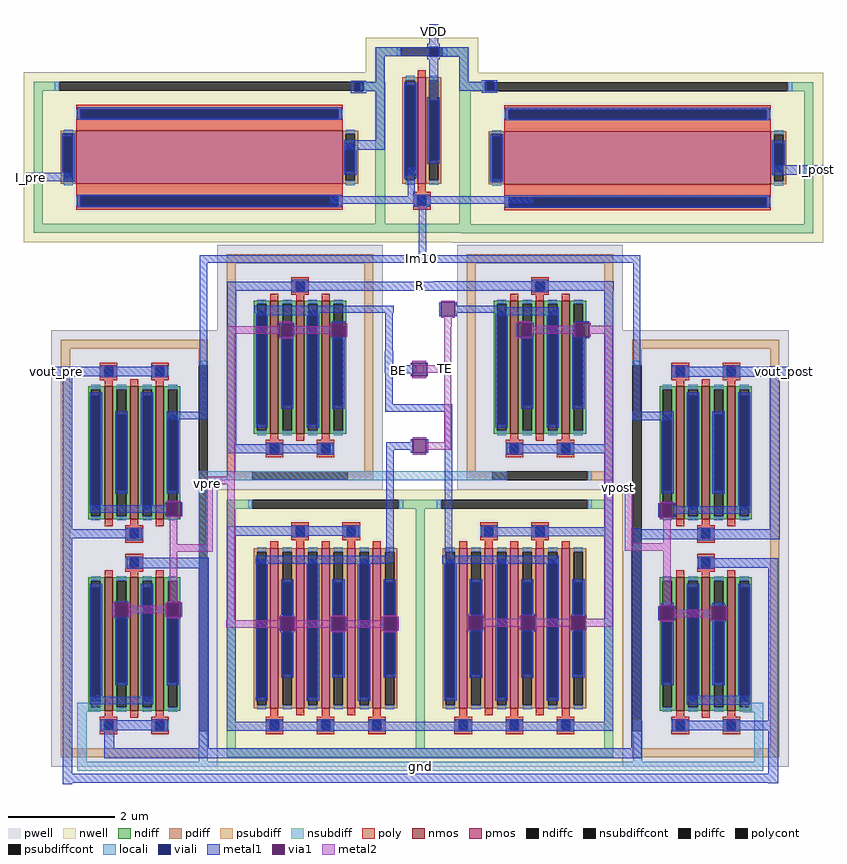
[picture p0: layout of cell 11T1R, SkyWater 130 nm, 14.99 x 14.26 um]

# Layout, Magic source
magic
tech sky130B
magscale 1 2
<< locali >>
rect -886 -384 271 -350
rect -1288 -1218 -1254 -1191
rect -1340 -1225 -1254 -1218
rect -1340 -1252 -1255 -1225
rect -1340 -1439 -1306 -1252
rect -886 -1439 -852 -384
rect 1158 -1253 1232 -1219
rect 744 -1439 778 -1285
rect 1198 -1439 1232 -1253
rect -1340 -1473 1232 -1439
<< viali >>
rect -21 1207 13 1241
rect -302 1075 -268 1109
rect 189 1077 223 1111
<< metal1 >>
rect -21 1253 13 1328
rect -27 1241 19 1253
rect -222 1207 -21 1241
rect 13 1240 19 1241
rect 13 1207 126 1240
rect -314 1109 -256 1115
rect -222 1109 -188 1207
rect -27 1206 126 1207
rect -27 1195 19 1206
rect -314 1075 -302 1109
rect -268 1075 -188 1109
rect -314 1069 -256 1075
rect -222 891 -188 1075
rect -21 1049 13 1195
rect 92 1111 126 1206
rect 177 1111 235 1117
rect 92 1077 189 1111
rect 223 1077 235 1111
rect 177 1071 235 1077
rect -338 857 -188 891
rect -1535 738 -1354 770
rect -102 681 -74 791
rect 1267 762 1456 798
rect -60 681 -32 685
rect -395 653 369 681
rect -60 460 -32 653
rect -882 432 772 460
rect -1438 7 -1014 42
rect -1395 -567 -1360 7
rect -882 -126 -854 432
rect -5 362 671 363
rect -779 328 671 362
rect -779 206 -745 328
rect -676 244 -154 272
rect -672 242 -438 244
rect -672 236 -440 242
rect -386 206 -334 212
rect -778 158 -745 206
rect -1000 -154 -853 -126
rect -779 -249 -745 158
rect -590 154 -584 206
rect -532 154 -526 206
rect -386 148 -334 154
rect -186 100 -158 244
rect 18 232 24 284
rect 76 272 82 284
rect 76 266 270 272
rect 76 244 466 266
rect 76 232 82 244
rect 230 236 466 244
rect 528 207 580 213
rect 307 155 313 207
rect 365 155 371 207
rect 528 149 580 155
rect -187 48 -156 100
rect -187 17 -39 48
rect -186 -98 -158 17
rect -186 -126 66 -98
rect -89 -241 -83 -229
rect -779 -283 -391 -249
rect -182 -269 -83 -241
rect -1011 -478 -1005 -466
rect -1294 -506 -1005 -478
rect -1011 -518 -1005 -506
rect -953 -518 -947 -466
rect -1395 -602 -1106 -567
rect -781 -591 -295 -557
rect -1395 -1484 -1360 -602
rect -1147 -713 -847 -675
rect -1201 -843 -1149 -837
rect -1005 -843 -953 -837
rect -1011 -895 -1005 -843
rect -953 -895 -947 -843
rect -1201 -901 -1149 -895
rect -1005 -901 -953 -895
rect -1291 -1224 -1061 -1196
rect -1240 -1322 -1008 -1284
rect -1240 -1389 -1202 -1322
rect -885 -1389 -847 -713
rect -781 -1289 -747 -591
rect -182 -666 -154 -269
rect -89 -281 -83 -269
rect -31 -281 -25 -229
rect 38 -666 66 -126
rect 636 -248 670 328
rect 744 -126 772 432
rect 1257 43 1295 45
rect 888 5 1327 43
rect 742 -158 897 -126
rect 282 -282 670 -248
rect 636 -559 670 -282
rect 839 -522 845 -470
rect 897 -482 903 -470
rect 897 -510 1176 -482
rect 897 -522 903 -510
rect 185 -593 670 -559
rect -671 -692 -154 -666
rect -671 -696 -170 -692
rect 28 -696 466 -666
rect -579 -896 -527 -890
rect -387 -896 -335 -890
rect -192 -896 -140 -890
rect 128 -892 180 -886
rect -393 -948 -387 -896
rect -335 -948 -329 -896
rect -198 -948 -192 -896
rect -140 -948 -134 -896
rect -579 -954 -527 -948
rect -387 -954 -335 -948
rect -192 -954 -140 -948
rect 128 -950 180 -944
rect 325 -892 377 -886
rect 325 -950 377 -944
rect 513 -892 565 -886
rect 513 -950 565 -944
rect 636 -1289 670 -593
rect -781 -1323 670 -1289
rect 738 -567 776 -563
rect 1257 -567 1295 5
rect 738 -605 1295 -567
rect 738 -1389 776 -605
rect 995 -712 1288 -676
rect 1040 -857 1092 -851
rect 839 -909 845 -857
rect 897 -909 903 -857
rect 1040 -915 1092 -909
rect 953 -1225 1181 -1192
rect 1251 -1285 1288 -712
rect 903 -1322 1288 -1285
rect -1240 -1427 776 -1389
rect 1251 -1484 1288 -1322
rect -1395 -1519 1289 -1484
rect -1395 -1523 -1360 -1519
rect 1251 -1520 1288 -1519
<< via1 >>
rect -584 154 -532 206
rect -386 154 -334 206
rect 24 232 76 284
rect 313 155 365 207
rect 528 155 580 207
rect -1005 -518 -953 -466
rect -1201 -895 -1149 -843
rect -1005 -895 -953 -843
rect -83 -281 -31 -229
rect 845 -522 897 -470
rect -579 -948 -527 -896
rect -387 -948 -335 -896
rect -192 -948 -140 -896
rect 128 -944 180 -892
rect 325 -944 377 -892
rect 513 -944 565 -892
rect 845 -909 897 -857
rect 1040 -909 1092 -857
<< metal2 >>
rect 24 284 76 290
rect 24 226 76 232
rect -584 206 -532 212
rect -778 166 -584 194
rect -778 -370 -750 166
rect -392 194 -386 206
rect -532 166 -386 194
rect -392 154 -386 166
rect -334 154 -328 206
rect 35 195 64 226
rect 313 207 365 213
rect -584 148 -532 154
rect 35 48 63 195
rect 522 196 528 207
rect 365 166 528 196
rect 522 155 528 166
rect 580 196 586 207
rect 580 166 667 196
rect 580 155 586 166
rect 313 149 365 155
rect -71 20 63 48
rect -83 -229 -31 -223
rect 35 -241 63 20
rect -31 -269 63 -241
rect -83 -287 -31 -281
rect -860 -398 -750 -370
rect 637 -398 667 166
rect -1005 -466 -953 -460
rect -1005 -524 -953 -518
rect -993 -624 -965 -524
rect -860 -624 -832 -398
rect -993 -652 -832 -624
rect -993 -837 -965 -652
rect -1005 -843 -953 -837
rect -1207 -895 -1201 -843
rect -1149 -855 -1143 -843
rect -1011 -855 -1005 -843
rect -1149 -883 -1005 -855
rect -1149 -895 -1143 -883
rect -1011 -895 -1005 -883
rect -953 -895 -947 -843
rect -1005 -901 -953 -895
rect -778 -908 -750 -398
rect 636 -426 741 -398
rect 637 -427 741 -426
rect -387 -896 -335 -890
rect -192 -896 -140 -890
rect -585 -908 -579 -896
rect -782 -936 -579 -908
rect -585 -948 -579 -936
rect -527 -908 -521 -896
rect -393 -908 -387 -896
rect -527 -936 -387 -908
rect -527 -948 -521 -936
rect -393 -948 -387 -936
rect -335 -908 -329 -896
rect -198 -908 -192 -896
rect -335 -936 -192 -908
rect -335 -948 -329 -936
rect -198 -948 -192 -936
rect -140 -948 -134 -896
rect 122 -944 128 -892
rect 180 -903 186 -892
rect 319 -903 325 -892
rect 180 -933 325 -903
rect 180 -944 186 -933
rect 319 -944 325 -933
rect 377 -903 383 -892
rect 507 -903 513 -892
rect 377 -933 513 -903
rect 377 -944 383 -933
rect 507 -944 513 -933
rect 565 -903 571 -892
rect 637 -903 667 -427
rect 713 -620 741 -427
rect 845 -470 897 -464
rect 845 -528 897 -522
rect 857 -620 885 -528
rect 713 -648 885 -620
rect 857 -851 885 -648
rect 565 -933 667 -903
rect 845 -857 897 -851
rect 1034 -869 1040 -857
rect 897 -897 1040 -869
rect 1034 -909 1040 -897
rect 1092 -909 1098 -857
rect 845 -915 897 -909
rect 565 -944 571 -933
rect -387 -954 -335 -948
rect -192 -954 -140 -948
use rram2_0  rram2_0_0
transform 1 0 -58 0 1 32
box -32 -32 32 32
use sky130_fd_pr__nfet_01v8_AKC4V5  sky130_fd_pr__nfet_01v8_AKC4V5_0
transform -1 0 1017 0 1 -639
box -311 -819 311 819
use sky130_fd_pr__nfet_01v8_AKC4V5  sky130_fd_pr__nfet_01v8_AKC4V5_1
transform 1 0 -1127 0 1 -639
box -311 -819 311 819
use sky130_fd_pr__nfet_01v8_JZLRWN  sky130_fd_pr__nfet_01v8_JZLRWN_0
transform 1 0 395 0 1 40
box -311 -460 311 460
use sky130_fd_pr__nfet_01v8_JZLRWN  sky130_fd_pr__nfet_01v8_JZLRWN_1
transform 1 0 -505 0 1 40
box -311 -460 311 460
use sky130_fd_pr__pfet_01v8_86T979  sky130_fd_pr__pfet_01v8_86T979_0
transform 1 0 -48 0 1 893
box -211 -384 211 384
use sky130_fd_pr__pfet_01v8_R4E532  sky130_fd_pr__pfet_01v8_R4E532_0
transform 1 0 299 0 1 -939
box -407 -519 407 519
use sky130_fd_pr__pfet_01v8_R4E532  sky130_fd_pr__pfet_01v8_R4E532_1
transform 1 0 -409 0 1 -939
box -407 -519 407 519
use sky130_fd_pr__pfet_01v8_RWS95J  sky130_fd_pr__pfet_01v8_RWS95J_0
transform 1 0 -845 0 1 828
box -696 -319 696 319
use sky130_fd_pr__pfet_01v8_RWS95J  sky130_fd_pr__pfet_01v8_RWS95J_1
transform 1 0 761 0 1 826
box -696 -319 696 319
<< labels >>
flabel metal1 s -137 29 -137 29 0 FreeSans 640 0 0 0 BE
flabel metal2 s 42 34 42 34 0 FreeSans 640 0 0 0 TE
flabel metal2 s -866 -411 -838 -383 0 FreeSans 640 0 0 0 vpre
flabel metal2 s 637 -427 745 -397 0 FreeSans 640 0 0 0 vpost
flabel metal1 s -57 346 -57 346 0 FreeSans 640 0 0 0 R
flabel metal1 s 1311 23 1311 23 0 FreeSans 640 0 0 0 vout_post
port 1 nsew
flabel metal1 s -1438 7 -1403 42 0 FreeSans 640 0 0 0 vout_pre
port 2 nsew
flabel locali -55 -1456 -55 -1456 0 FreeSans 640 0 0 0 gnd
port 3 nsew
flabel metal1 -51 447 -51 447 0 FreeSans 640 0 0 0 Im10
flabel metal1 -5 1300 -5 1300 0 FreeSans 640 0 0 0 VDD
port 4 nsew
flabel metal1 -1517 753 -1517 753 0 FreeSans 640 0 0 0 I_pre
port 5 nsew
flabel metal1 1431 781 1431 781 0 FreeSans 640 0 0 0 I_post
port 6 nsew
<< end >>

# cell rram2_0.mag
magic
tech sky130B
<< metal1 >>
rect -16 -13 -13 13
rect 13 -13 16 13
<< via1 >>
rect -13 -13 13 13
<< metal2 >>
rect -13 13 13 16
rect -13 -16 13 -13
<< labels >>
flabel metal2 s -13 -16 13 16 0 FreeSans 280 0 0 0 TE
port 0 nsew
flabel metal1 s -16 -13 16 13 0 FreeSans 280 0 0 0 BE
port 1 nsew
<< end >>

# cell sky130_fd_pr__nfet_01v8_AKC4V5: kit device sky130_fd_pr__nfet_01v8, w 2.5 l 0.150 m 2 nf 3 diffcov 100 polycov 100 guard 1 glc 0 grc 1 gtc 0 gbc 0 tbcov 100 rlcov 100 topc 1 botc 1 poverlap 0 doverlap 1 lmin 0.15 wmin 0.42 compatible {sky130_fd_pr__nfet_01v8 sky130_fd_pr__nfet_01v8_lvt sky130_fd_bs_flash__special_sonosfet_star sky130_fd_pr__nfet_g5v0d10v5 sky130_fd_pr__nfet_05v0_nvt sky130_fd_pr__nfet_03v3_nvt} full_metal 0 viasrc 60 viadrn 90 viagate 100 viagb 0 viagr 0 viagl 0 viagt 0

# cell sky130_fd_pr__nfet_01v8_JZLRWN: kit device sky130_fd_pr__nfet_01v8, w 2.5 l 0.150 m 1 nf 3 diffcov 100 polycov 100 guard 1 glc 0 grc 0 gtc 0 gbc 1 tbcov 100 rlcov 100 topc 1 botc 0 poverlap 0 doverlap 1 lmin 0.15 wmin 0.42 compatible {sky130_fd_pr__nfet_01v8 sky130_fd_pr__nfet_01v8_lvt sky130_fd_bs_flash__special_sonosfet_star sky130_fd_pr__nfet_g5v0d10v5 sky130_fd_pr__nfet_05v0_nvt sky130_fd_pr__nfet_03v3_nvt} full_metal 0 viasrc 60 viadrn 90 viagate 100 viagb 0 viagr 0 viagl 0 viagt 0

# cell sky130_fd_pr__pfet_01v8_86T979: kit device sky130_fd_pr__pfet_01v8, w 2 l 0.15 m 1 nf 1 diffcov 100 polycov 100 guard 1 glc 0 grc 0 gtc 1 gbc 0 tbcov 100 rlcov 100 topc 0 botc 1 poverlap 0 doverlap 1 lmin 0.15 wmin 0.42 compatible {sky130_fd_pr__pfet_01v8 sky130_fd_pr__pfet_01v8_lvt sky130_fd_pr__pfet_01v8_hvt sky130_fd_pr__pfet_g5v0d10v5} full_metal 0 viasrc 60 viadrn 90 viagate 100 viagb 0 viagr 0 viagl 0 viagt 0

# cell sky130_fd_pr__pfet_01v8_R4E532: kit device sky130_fd_pr__pfet_01v8, w 3 l 0.15 m 1 nf 5 diffcov 100 polycov 100 guard 1 glc 0 grc 0 gtc 1 gbc 0 tbcov 100 rlcov 100 topc 1 botc 0 poverlap 0 doverlap 1 lmin 0.15 wmin 0.42 compatible {sky130_fd_pr__pfet_01v8 sky130_fd_pr__pfet_01v8_lvt sky130_fd_pr__pfet_01v8_hvt sky130_fd_pr__pfet_g5v0d10v5} full_metal 0 viasrc 60 viadrn 90 viagate 100 viagb 0 viagr 0 viagl 0 viagt 0

# cell sky130_fd_pr__pfet_01v8_RWS95J: kit device sky130_fd_pr__pfet_01v8, w 1 l 5 m 1 nf 1 diffcov 100 polycov 100 guard 1 glc 0 grc 0 gtc 1 gbc 0 tbcov 100 rlcov 100 topc 1 botc 1 poverlap 0 doverlap 1 lmin 0.15 wmin 0.42 compatible {sky130_fd_pr__pfet_01v8 sky130_fd_pr__pfet_01v8_lvt sky130_fd_pr__pfet_01v8_hvt sky130_fd_pr__pfet_g5v0d10v5} full_metal 0 viasrc 60 viadrn 90 viagate 100 viagb 0 viagr 0 viagl 0 viagt 0
